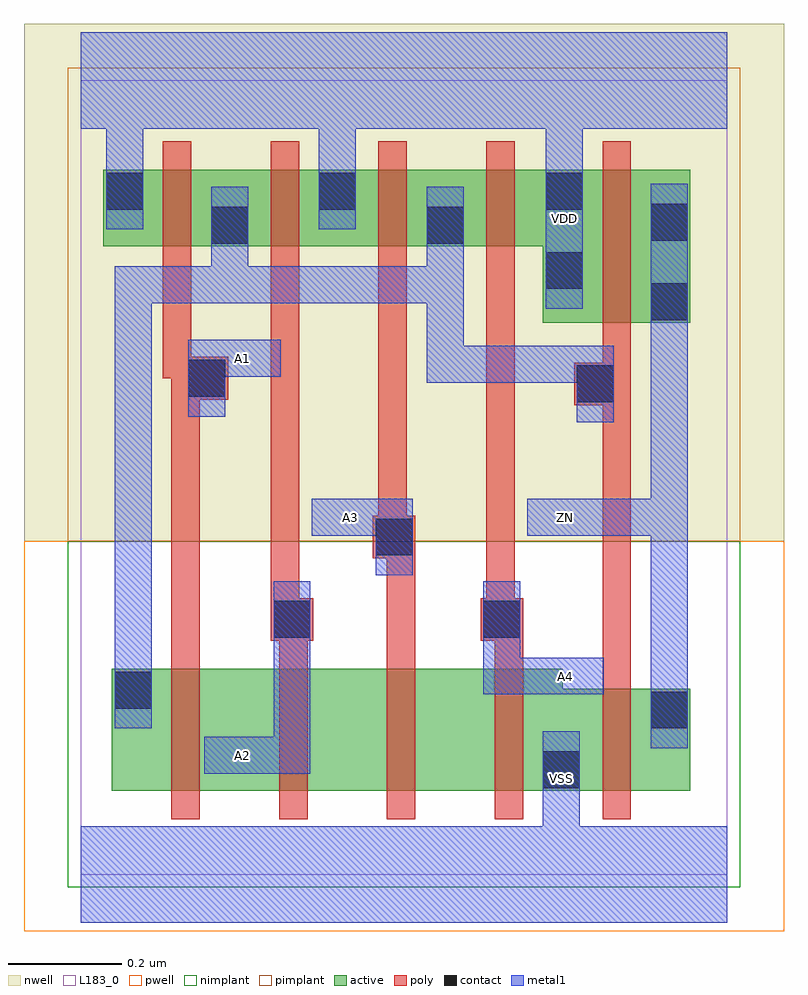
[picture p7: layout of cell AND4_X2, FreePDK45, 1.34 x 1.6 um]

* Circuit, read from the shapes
.subckt AND4_X2 A1 A2 A3 A4 VDD VSS ZN
M1 n1 A1 n2 VSUBS nfet w=0.215u l=0.05u
M2 n3 A2 n1 VSUBS nfet w=0.215u l=0.05u
M3 n4 A3 n3 VSUBS nfet w=0.215u l=0.05u
M4 VSS A4 n4 VSUBS nfet w=0.215u l=0.05u
M5 ZN n2 VSS VSUBS nfet w=0.18u l=0.05u
M6 n2 A1 VDD n5 pfet w=0.135u l=0.05u
M7 VDD A2 n2 n5 pfet w=0.135u l=0.05u
M8 n2 A3 VDD n5 pfet w=0.135u l=0.05u
M9 VDD A4 n2 n5 pfet w=0.135u l=0.05u
M10 ZN n2 VDD n5 pfet w=0.27u l=0.05u
.ends

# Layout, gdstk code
import gdstk
lib = gdstk.Library(unit=1e-6, precision=1e-10)
def R(c, l, rs):  # rectangles x0, y0, x1, y1
    for r in rs: c.add(gdstk.rectangle(r[:2], r[2:], *l))
def P(c, l, *ps):  # polygons
    for p in ps: c.add(gdstk.Polygon(p, *l))
active = (1, 0)
pwell = (2, 0)
nwell = (3, 0)
nimplant = (4, 0)
pimplant = (5, 0)
poly = (9, 0)
contact = (10, 0)
metal1 = (11, 0)
L183_0 = (183, 0)

and4_x2 = lib.new_cell('AND4_X2')
P(and4_x2, active, [(0.055,0.1475),(0.16,0.1475),(0.21,0.1475),(0.35,0.1475),(0.4,0.1475),(0.54,0.1475),(0.59,0.1475),(0.73,0.1475),(0.78,0.1475),(0.92,0.1475),(0.97,0.1475),(1.075,0.1475),(1.075,0.3275),(0.97,0.3275),(0.92,0.3275),(0.85,0.3275),(0.85,0.3625),(0.78,0.3625),(0.73,0.3625),(0.59,0.3625),(0.54,0.3625),(0.4,0.3625),(0.35,0.3625),(0.21,0.3625),(0.16,0.3625),(0.055,0.3625)],
  [(0.04,1.1075),(0.145,1.1075),(0.195,1.1075),(0.335,1.1075),(0.385,1.1075),(0.525,1.1075),(0.575,1.1075),(0.715,1.1075),(0.765,1.1075),(0.815,1.1075),(0.815,0.9725),(0.92,0.9725),(0.97,0.9725),(1.075,0.9725),(1.075,1.2425),(0.97,1.2425),(0.92,1.2425),(0.765,1.2425),(0.715,1.2425),(0.575,1.2425),(0.525,1.2425),(0.385,1.2425),(0.335,1.2425),(0.195,1.2425),(0.145,1.2425),(0.04,1.2425)])
P(and4_x2, pwell, [(-0.1,-0.1),(1.24,-0.1),(1.24,0.5875),(1.04,0.5875),(0.1,0.5875),(-0.1,0.5875)])
P(and4_x2, nwell, [(-0.1,0.5875),(0.1,0.5875),(1.04,0.5875),(1.24,0.5875),(1.24,1.5),(-0.1,1.5)])
R(and4_x2, nimplant, [(-0.0225,-0.0225,1.1625,0.5875)])
R(and4_x2, pimplant, [(-0.0225,0.5875,1.1625,1.4225)])
P(and4_x2, poly, [(0.145,0.875),(0.16,0.875),(0.16,0.3625),(0.16,0.1475),(0.16,0.0975),(0.21,0.0975),(0.21,0.1475),(0.21,0.3625),(0.21,0.8375),(0.26,0.8375),(0.26,0.9125),(0.195,0.9125),(0.195,1.1075),(0.195,1.2425),(0.195,1.2925),(0.145,1.2925),(0.145,1.2425),(0.145,1.1075)],
  [(0.335,0.4125),(0.35,0.4125),(0.35,0.3625),(0.35,0.1475),(0.35,0.0975),(0.4,0.0975),(0.4,0.1475),(0.4,0.3625),(0.4,0.4125),(0.41,0.4125),(0.41,0.4875),(0.385,0.4875),(0.385,1.1075),(0.385,1.2425),(0.385,1.2925),(0.335,1.2925),(0.335,1.2425),(0.335,1.1075)],
  [(0.515,0.5575),(0.54,0.5575),(0.54,0.3625),(0.54,0.1475),(0.54,0.0975),(0.59,0.0975),(0.59,0.1475),(0.59,0.3625),(0.59,0.6325),(0.575,0.6325),(0.575,1.1075),(0.575,1.2425),(0.575,1.2925),(0.525,1.2925),(0.525,1.2425),(0.525,1.1075),(0.525,0.6325),(0.515,0.6325)],
  [(0.705,0.4125),(0.73,0.4125),(0.73,0.3625),(0.73,0.1475),(0.73,0.0975),(0.78,0.0975),(0.78,0.1475),(0.78,0.3625),(0.78,0.4875),(0.765,0.4875),(0.765,1.1075),(0.765,1.2425),(0.765,1.2925),(0.715,1.2925),(0.715,1.2425),(0.715,1.1075),(0.715,0.4875),(0.705,0.4875)],
  [(0.87,0.8275),(0.92,0.8275),(0.92,0.3275),(0.92,0.1475),(0.92,0.0975),(0.97,0.0975),(0.97,0.1475),(0.97,0.3275),(0.97,0.9725),(0.97,1.2425),(0.97,1.2925),(0.92,1.2925),(0.92,1.2425),(0.92,0.9725),(0.92,0.9025),(0.87,0.9025)])
R(and4_x2, contact, [(0.815,0.1525,0.88,0.2175), (1.005,0.2575,1.07,0.3225), (0.06,0.2925,0.125,0.3575), (0.34,0.4175,0.405,0.4825), (0.71,0.4175,0.775,0.4825), (0.52,0.5625,0.585,0.6275), (0.875,0.8325,0.94,0.8975), (0.19,0.8425,0.255,0.9075), (1.005,0.9775,1.07,1.0425), (0.82,1.0325,0.885,1.0975), (0.23,1.1125,0.295,1.1775), (0.61,1.1125,0.675,1.1775), (1.005,1.1175,1.07,1.1825), (0.045,1.1725,0.11,1.2375), (0.42,1.1725,0.485,1.2375), (0.82,1.1725,0.885,1.2375)])
P(and4_x2, metal1, [(0.4075,0.5975),(0.52,0.5975),(0.52,0.5275),(0.585,0.5275),(0.585,0.6625),(0.4075,0.6625)],
  [(0.71,0.3175),(0.9225,0.3175),(0.9225,0.3825),(0.775,0.3825),(0.775,0.5175),(0.71,0.5175)],
  [(0.06,0.2575),(0.125,0.2575),(0.125,1.0075),(0.61,1.0075),(0.61,0.8675),(0.875,0.8675),(0.875,0.7975),(0.94,0.7975),(0.94,0.9325),(0.675,0.9325),(0.675,1.2125),(0.61,1.2125),(0.61,1.0725),(0.295,1.0725),(0.295,1.2125),(0.23,1.2125),(0.23,1.0725),(0.06,1.0725)],
  [(0.7875,0.5975),(1.005,0.5975),(1.005,0.2225),(1.07,0.2225),(1.07,1.2175),(1.005,1.2175),(1.005,0.6625),(0.7875,0.6625)],
  [(0,-0.085),(1.14,-0.085),(1.14,0.085),(0.88,0.085),(0.88,0.2525),(0.815,0.2525),(0.815,0.085),(0,0.085)],
  [(0,1.315),(0.045,1.315),(0.045,1.1375),(0.11,1.1375),(0.11,1.315),(0.42,1.315),(0.42,1.1375),(0.485,1.1375),(0.485,1.315),(0.82,1.315),(0.82,0.9975),(0.885,0.9975),(0.885,1.315),(1.14,1.315),(1.14,1.485),(0,1.485)],
  [(0.19,0.8075),(0.255,0.8075),(0.255,0.8775),(0.3525,0.8775),(0.3525,0.9425),(0.19,0.9425)],
  [(0.2175,0.1775),(0.405,0.1775),(0.405,0.5175),(0.34,0.5175),(0.34,0.2425),(0.2175,0.2425)])
R(and4_x2, L183_0, [(0,0,1.14,1.4)])
and4_x2.add(gdstk.Label('A1', (0.285,0.91), layer=11, texttype=0))
and4_x2.add(gdstk.Label('A2', (0.285,0.21), layer=11, texttype=0))
and4_x2.add(gdstk.Label('A3', (0.475,0.63), layer=11, texttype=0))
and4_x2.add(gdstk.Label('A4', (0.855,0.35), layer=11, texttype=0))
and4_x2.add(gdstk.Label('VDD', (0.8525,1.1562), layer=11, texttype=0))
and4_x2.add(gdstk.Label('VSS', (0.8475,0.1687), layer=11, texttype=0))
and4_x2.add(gdstk.Label('ZN', (0.855,0.63), layer=11, texttype=0))

lib.write_gds('AND4_X2.gds')
